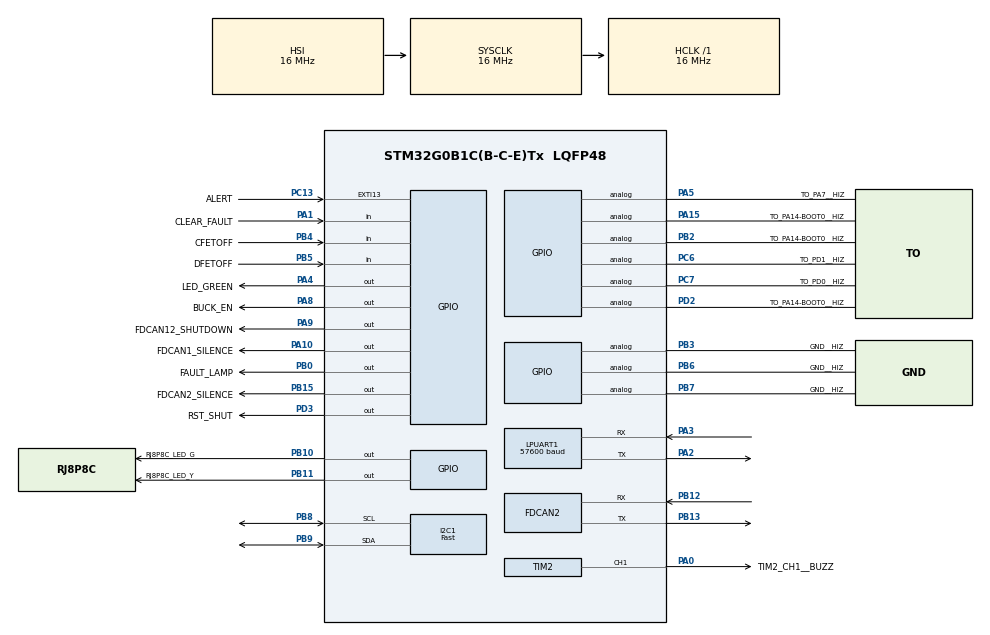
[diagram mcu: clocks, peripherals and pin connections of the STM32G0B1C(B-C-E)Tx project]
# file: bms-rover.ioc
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Dma.LPUART1_TX.0.Direction=DMA_MEMORY_TO_PERIPH
Dma.LPUART1_TX.0.EventEnable=DISABLE
Dma.LPUART1_TX.0.Instance=DMA1_Channel1
Dma.LPUART1_TX.0.MemDataAlignment=DMA_MDATAALIGN_BYTE
Dma.LPUART1_TX.0.MemInc=DMA_MINC_ENABLE
Dma.LPUART1_TX.0.Mode=DMA_NORMAL
Dma.LPUART1_TX.0.PeriphDataAlignment=DMA_PDATAALIGN_BYTE
Dma.LPUART1_TX.0.PeriphInc=DMA_PINC_DISABLE
Dma.LPUART1_TX.0.Polarity=HAL_DMAMUX_REQ_GEN_RISING
Dma.LPUART1_TX.0.Priority=DMA_PRIORITY_LOW
Dma.LPUART1_TX.0.RequestNumber=1
Dma.LPUART1_TX.0.SignalID=NONE
Dma.LPUART1_TX.0.SyncEnable=DISABLE
Dma.LPUART1_TX.0.SyncPolarity=HAL_DMAMUX_SYNC_NO_EVENT
Dma.LPUART1_TX.0.SyncRequestNumber=1
Dma.LPUART1_TX.0.SyncSignalID=NONE
Dma.Request0=LPUART1_TX
FDCAN2.AutoRetransmission=ENABLE
FDCAN2.CalculateBaudRateNominal=250000
FDCAN2.CalculateTimeBitNominal=4000
FDCAN2.CalculateTimeQuantumNominal=1000.0
FDCAN2.DataSyncJumpWidth=4
FDCAN2.DataTimeSeg1=5
FDCAN2.DataTimeSeg2=4
FDCAN2.FrameFormat=FDCAN_FRAME_CLASSIC
FDCAN2.Mode=FDCAN_MODE_NORMAL
FDCAN2.NominalPrescaler=32
FDCAN2.NominalSyncJumpWidth=16
FDCAN2.NominalTimeSeg1=2
FDCAN2.NominalTimeSeg2=1
FDCAN2.StdFiltersNbr=1
FDCAN2.TransmitPause=ENABLE
FDCAN2.TxFifoQueueMode=FDCAN_TX_FIFO_OPERATION
I2C1.I2C_Speed_Mode=I2C_Fast
I2C1.Timing=0x00300617
LPUART1.BaudRate=57600
LPUART1.Mode=UART_MODE_TX_RX
LPUART1.WordLength=UART_WORDLENGTH_8B
Mcu.Family=STM32G0
Mcu.Name=STM32G0B1C(B-C-E)Tx
Mcu.Package=LQFP48
Mcu.UserConstants=HCLK_Hz,(HCLK_MHz * 1000000);CAN_TIMEOUT_PSC_DIV,(HCLK_kHz - 1);BUZZ_PWM_PSC_DIV,(HCLK_MHz - 1);BUZZ_TONE_PSC_DIV,(HCLK_kHz - 1);HCLK_MHz,16;ALARM_WATCHDOG_PSC_DIV,(HCLK_kHz - 1);SLEEP_MODE_UPDATE_TIME_s,4 * (5) + 1;ALARM_CALLBACK_WATCHDOG_ms,((SLEEP_MODE_UPDATE_TIME_s + 1) * 1000);CAN_TIMEOUT_ms,50;HCLK_kHz,(HCLK_MHz * 1000);BQ769X2_DELAY_us_PSC_DIV,(HCLK_MHz - 1)
NVIC.DMA1_Channel1_IRQn=true\:1\:0\:true\:false\:true\:false\:true\:true
NVIC.EXTI4_15_IRQn=true\:1\:0\:true\:false\:true\:true\:true\:true
NVIC.TIM16_FDCAN_IT0_IRQn=true\:1\:0\:true\:false\:true\:true\:true\:true
NVIC.TIM6_DAC_LPTIM1_IRQn=true\:1\:0\:true\:false\:true\:true\:true\:true
NVIC.TIM7_LPTIM2_IRQn=true\:0\:0\:true\:false\:true\:true\:true\:true
NVIC.USART3_4_5_6_LPUART1_IRQn=true\:1\:0\:true\:false\:true\:true\:true\:true
PA0.GPIO_Label=TIM2_CH1__BUZZ
PA0.Signal=S_TIM2_CH1_ETR
PA1.GPIO_Label=CLEAR_FAULT
PA1.Signal=GPIO_Input
PA10.GPIO_Label=FDCAN1_SILENCE
PA10.GPIO_ModeDefaultOutputPP=GPIO_MODE_OUTPUT_PP
PA10.GPIO_PuPd=GPIO_NOPULL
PA10.GPIO_Speed=GPIO_SPEED_FREQ_LOW
PA10.Signal=GPIO_Output
PA13.Mode=Serial_Wire
PA13.Signal=SYS_SWDIO
PA14-BOOT0.Mode=Serial_Wire
PA14-BOOT0.Signal=SYS_SWCLK
PA15.GPIO_Label=TO_PA14-BOOT0__HIZ
PA15.Signal=GPIO_Analog
PA2.Mode=Asynchronous
PA2.Signal=LPUART1_TX
PA3.Mode=Asynchronous
PA3.Signal=LPUART1_RX
PA4.GPIO_Label=LED_GREEN
PA4.Signal=GPIO_Output
PA5.GPIO_Label=TO_PA7__HIZ
PA5.Signal=GPIO_Analog
PA8.GPIO_Label=BUCK_EN
PA8.Signal=GPIO_Output
PA9.GPIO_Label=FDCAN12_SHUTDOWN
PA9.GPIO_ModeDefaultOutputPP=GPIO_MODE_OUTPUT_PP
PA9.GPIO_PuPd=GPIO_NOPULL
PA9.GPIO_Speed=GPIO_SPEED_FREQ_LOW
PA9.Signal=GPIO_Output
PB0.GPIO_Label=FAULT_LAMP
PB0.Signal=GPIO_Output
PB10.GPIO_Label=RJ8P8C_LED_G
PB10.Signal=GPIO_Output
PB11.GPIO_Label=RJ8P8C_LED_Y
PB11.Signal=GPIO_Output
PB12.GPIO_PuPd=GPIO_PULLUP
PB12.Mode=FDCAN_Activate
PB12.Signal=FDCAN2_RX
PB13.Mode=FDCAN_Activate
PB13.Signal=FDCAN2_TX
PB15.GPIO_Label=FDCAN2_SILENCE
PB15.GPIO_ModeDefaultOutputPP=GPIO_MODE_OUTPUT_PP
PB15.GPIO_PuPd=GPIO_NOPULL
PB15.GPIO_Speed=GPIO_SPEED_FREQ_LOW
PB15.Signal=GPIO_Output
PB2.GPIO_Label=TO_PA14-BOOT0__HIZ
PB2.Signal=GPIO_Analog
PB3.GPIO_Label=GND__HIZ
PB3.Signal=GPIO_Analog
PB4.GPIO_Label=CFETOFF
PB4.Signal=GPIO_Input
PB5.GPIO_Label=DFETOFF
PB5.Signal=GPIO_Input
PB6.GPIO_Label=GND__HIZ
PB6.Signal=GPIO_Analog
PB7.GPIO_Label=GND__HIZ
PB7.Signal=GPIO_Analog
PB8.Mode=I2C
PB8.Signal=I2C1_SCL
PB9.Mode=I2C
PB9.Signal=I2C1_SDA
PC13.GPIO_Label=ALERT
PC13.GPIO_PuPd=GPIO_PULLUP
PC13.Signal=GPXTI13
PC6.GPIO_Label=TO_PD1__HIZ
PC6.Signal=GPIO_Analog
PC7.GPIO_Label=TO_PD0__HIZ
PC7.Signal=GPIO_Analog
PD2.GPIO_Label=TO_PA14-BOOT0__HIZ
PD2.Signal=GPIO_Analog
PD3.GPIO_Label=RST_SHUT
PD3.Signal=GPIO_Output
ProjectManager.HeapSize=0x200
ProjectManager.StackSize=0x400
ProjectManager.TargetToolchain=CMake
RCC.ADCFreq_Value=16000000
RCC.AHBFreq_Value=16000000
RCC.CortexFreq_Value=16000000
RCC.EXTERNAL_CLOCK_VALUE=48000
RCC.FDCANCLockSelection=RCC_FDCANCLKSOURCE_PLL
RCC.HCLKFreq_Value=16000000
RCC.HSE_VALUE=8000000
RCC.HSI48_VALUE=48000000
RCC.HSI_VALUE=16000000
RCC.LSE_VALUE=32768
RCC.PLLQ=RCC_PLLQ_DIV4
RCC.SYSCLKFreq_VALUE=16000000
RCC.USBFreq_Value=48000000
RCC.VCOOutputFreq_Value=128000000
SH.S_TIM2_CH1_ETR.0=TIM2_CH1,PWM Generation1 CH1
TIM15.AutoReloadPreload=TIM_AUTORELOAD_PRELOAD_ENABLE
TIM15.Prescaler=BQ769X2_DELAY_us_PSC_DIV
TIM16.AutoReloadPreload=TIM_AUTORELOAD_PRELOAD_DISABLE
TIM16.Period=CAN_TIMEOUT_ms
TIM16.Prescaler=CAN_TIMEOUT_PSC_DIV
TIM2.AutoReloadPreload=TIM_AUTORELOAD_PRELOAD_ENABLE
TIM2.Channel-PWM\ Generation1\ CH1=TIM_CHANNEL_1
TIM2.Period=1000000/(HCLK_kHz/10)-1
TIM2.Prescaler=BUZZ_PWM_PSC_DIV
TIM2.Pulse-PWM\ Generation1\ CH1=1000000/800/2
TIM6.AutoReloadPreload=TIM_AUTORELOAD_PRELOAD_ENABLE
TIM6.Period=ALARM_CALLBACK_WATCHDOG_ms
TIM6.Prescaler=ALARM_WATCHDOG_PSC_DIV
TIM7.AutoReloadPreload=TIM_AUTORELOAD_PRELOAD_ENABLE
TIM7.Period=65535
TIM7.Prescaler=BUZZ_TONE_PSC_DIV
TIM7.TIM_MasterOutputTrigger=TIM_TRGO_RESET
VP_SYS_VS_DBSignals.Mode=DisableDeadBatterySignals
VP_TIM15_VS_ClockSourceINT.Mode=Internal
VP_TIM16_VS_ClockSourceINT.Mode=Enable_Timer
VP_TIM2_VS_ClockSourceINT.Mode=Internal
VP_TIM6_VS_ClockSourceINT.Mode=Enable_Timer
VP_TIM7_VS_ClockSourceINT.Mode=Enable_Timer
board=custom

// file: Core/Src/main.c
/* USER CODE BEGIN Header */
/**
******************************************************************************
* @file           : main.c
* @brief          : Main program body
******************************************************************************
* @attention
*
* Copyright (c) 2025 STMicroelectronics.
* All rights reserved.
*
* This software is licensed under terms that can be found in the LICENSE file
* in the root directory of this software component.
* If no LICENSE file comes with this software, it is provided AS-IS.
*
******************************************************************************
*/

/*
TODO:TODO:TODO:TODO:TODO:
* Check if USART3_4_5_6_LPUART1_IRQHandler is strictly needed for DMA LPUART1 operation.
*/

/* USER CODE END Header */
#include "main.h"

/* USER CODE BEGIN Includes */
#include <assert.h>
#include <stddef.h>
#include <stdint.h>
#include <stdio.h>
#include <string.h>
/* USER CODE END Includes */

/* USER CODE BEGIN PD */
// #define UART_DBG
lwrb_t usart_tx_rb;
char uart_txt_buf[512];
uint8_t usart_tx_rb_data[1024];
volatile size_t usart_tx_dma_current_len;

struct can_buffer_slot
{
    uint16_t message_priority;
    uint8_t size;
    uint8_t data[8];
};

lwrb_t can_tx_rb;
char can_tx_rb_data[sizeof(struct can_buffer_slot) * 32];
volatile size_t can_tx_rb_current_len;
uint8_t sleep_guard = 1;
/* USER CODE END PD */

/* USER CODE BEGIN PM */

/*
bit 10 9 8 7 6 5 4 3 2 1 0
     m m r r D D D D D D D

m = message type -> 00: critical errors | 01: command | 10: fast telemetry | 11: slow telemetry
r = reserved(11) -> for finer prio control if we need it
D = node ID -> lower id = higher priority (0x7F - 0x00)
*/

#define CAN_RX

#define CAN_MSG_PRI_ERR (0b00 << 9)
#define CAN_MSG_PRI_CMD (0b01 << 9)
#define CAN_MSG_PRI_TLM_FAST (0b10 << 9)
#define CAN_MSG_PRI_TLM_SLOW (0b11 << 9)

#define CAN_RES1 (0b11 << 7)

#define CAN_BATTERY_SUBGROUP (0b1101 << 3)

// TODO: UNIQUE BOARD SUFFIX ID?
const uint16_t CAN_ID_BASE = CAN_RES1 | CAN_BATTERY_SUBGROUP | 0b000;
/* USER CODE END PM */

FDCAN_HandleTypeDef hfdcan2;

I2C_HandleTypeDef hi2c1;

UART_HandleTypeDef hlpuart1;
DMA_HandleTypeDef hdma_lpuart1_tx;

TIM_HandleTypeDef htim2;
TIM_HandleTypeDef htim6;
TIM_HandleTypeDef htim7;
TIM_HandleTypeDef htim15;
TIM_HandleTypeDef htim16;

/* USER CODE BEGIN PV */
// TIM_HandleTypeDef htim2; // PWM TIMER
TIM_HandleTypeDef *htim_interrupt_watchdog = &htim6;
// TIM_HandleTypeDef htim7; // TONE SWITCHING TIMER
// TIM_HandleTypeDef htim15; // BQ769X2 us TIMER
TIM_HandleTypeDef *htim_can_disconnect = &htim16;

uint8_t bq769x2_pf = 0,
        bq769x2_initialized = 0;
uint32_t cb_telemetry_timer_ms = 0;
const uint32_t RESEND_INTERVAL = 10000;
/* USER CODE END PV */

void SystemClock_Config(void);
static void MX_GPIO_Init(void);
static void MX_DMA_Init(void);
static void MX_FDCAN2_Init(void);
static void MX_I2C1_Init(void);
static void MX_LPUART1_UART_Init(void);
static void MX_TIM2_Init(void);
static void MX_TIM7_Init(void);
static void MX_TIM15_Init(void);
static void MX_TIM6_Init(void);
static void MX_TIM16_Init(void);
/* USER CODE BEGIN PFP */
static void FDCAN2_classic_config(void);
void usart_send_string(const char *str);
/* USER CODE END PFP */

/* USER CODE BEGIN 0 */

uint8_t can2_move_to_fifo()
{
    uint32_t primask;
    uint8_t started = 0;
    struct can_buffer_slot slot;

    primask = __get_PRIMASK();
    __disable_irq();
    if (HAL_FDCAN_GetTxFifoFreeLevel(&hfdcan2) > 0 && lwrb_read(&can_tx_rb, &slot, sizeof(slot)) > 0)
    {
        HAL_TIM_Base_Start_IT(htim_can_disconnect);
        __HAL_TIM_SET_COUNTER(htim_can_disconnect, 0);

        HAL_GPIO_WritePin(FDCAN12_SHUTDOWN_GPIO_Port, FDCAN12_SHUTDOWN_Pin, GPIO_PIN_RESET);
        HAL_GPIO_WritePin(FDCAN2_SILENCE_GPIO_Port, FDCAN2_SILENCE_Pin, GPIO_PIN_RESET);

        HAL_GPIO_WritePin(RJ8P8C_LED_Y_GPIO_Port, RJ8P8C_LED_Y_Pin, GPIO_PIN_SET);
        HAL_GPIO_WritePin(RJ8P8C_LED_G_GPIO_Port, RJ8P8C_LED_G_Pin, GPIO_PIN_SET);

        FDCAN_TxHeaderTypeDef can_classic_tx_header = {
            .IdType = FDCAN_STANDARD_ID,
            .TxFrameType = FDCAN_DATA_FRAME,
            .ErrorStateIndicator = FDCAN_ESI_ACTIVE,
            .BitRateSwitch = FDCAN_BRS_OFF,
            .FDFormat = FDCAN_CLASSIC_CAN,
            .TxEventFifoControl = FDCAN_STORE_TX_EVENTS,
            .MessageMarker = 0,
            .DataLength = slot.size,
            .Identifier = CAN_ID_BASE | slot.message_priority,
        };

        uint8_t delay = 0;
        while (HAL_FDCAN_AddMessageToTxFifoQ(&hfdcan2, &can_classic_tx_header, slot.data) != HAL_OK)
        {
            bq769x2_delay_us(250);
            delay++;
        }
        if (delay > 0)
        {
#ifdef UART_DBG
            char buf[32];
            snprintf(buf, sizeof(buf), "CAN_OVERFLOW %d\r\n", delay);
            usart_send_string(buf);
#endif
        }
        usart_send_string("CAN_OK\r\n");
        started = 1;
        __HAL_TIM_SET_COUNTER(htim_can_disconnect, 0);
    }
    __set_PRIMASK(primask);
    return started;
}

void can2_transmit(void *data, uint32_t length, uint16_t id_priority)
{
    static struct can_buffer_slot slot_null;
    struct can_buffer_slot slot = {
        .size = length,
        .message_priority = id_priority,
        .data = {}};
    uint8_t fail = 9;

    memcpy(slot.data, data, length);

    /* Write data to transmit buffer */
    while (fail-- && lwrb_write(&can_tx_rb, &slot, sizeof(struct can_buffer_slot)) != sizeof(struct can_buffer_slot))
    {
        char err_str[] = "can buffer overrun 0\r\n";
        err_str[sizeof(err_str) - 4] = '0' + fail;
        usart_send_string(err_str);
        lwrb_read(&can_tx_rb, &slot_null, sizeof(slot_null));
    }
    can2_move_to_fifo();
}

void tx_ssbc(uint16_t priority)
{
    struct safety_status_BC ssbc = CREATE(
        safety_status_BC,
        .safety_status_B = DIRCMD_READ_SafetyStatusB_Raw(),
        .safety_status_C = DIRCMD_READ_SafetyStatusC_Raw());
    can2_transmit(&ssbc, sizeof(ssbc), priority);

#ifdef UART_DBG
    snprintf(uart_txt_buf, sizeof(uart_txt_buf), SSBC_UART_FMT);
    usart_send_string(uart_txt_buf);
#endif
}

static void tx_snapshot(int16_t snapshot[16], enum event_type snapshot_type)
{
    struct cv_group cv_groups[6];
    FILL_CELL_VOLTAGES(cv_groups, snapshot_type,
                       snapshot[0],
                       snapshot[1],
                       snapshot[2],
                       snapshot[3],
                       snapshot[4],
                       snapshot[5],
                       snapshot[6],
                       snapshot[7],
                       snapshot[8],
                       snapshot[9],
                       snapshot[10],
                       snapshot[11],
                       snapshot[12],
                       snapshot[13],
                       snapshot[14],
                       snapshot[15], 0);
    for (uint8_t i = 0; i < 6; i++)
        can2_transmit(&cv_groups[i], sizeof(cv_groups[i]), CAN_MSG_PRI_ERR);
}

void tx_ssa(uint16_t priority)
{
    static int16_t snapshot[16];
    struct safety_status_A ssa = CREATE(
        safety_status_A,
        .safety_status_A = DIRCMD_READ_SafetyStatusA_Raw());
    can2_transmit(&ssa, sizeof(ssa), priority);

#ifdef UART_DBG
    snprintf(uart_txt_buf, sizeof(uart_txt_buf), SSA_UART_FMT);
    usart_send_string(uart_txt_buf);
#endif

    if (BIT_SafetyStatusA_COV(ssa.safety_status_A) && priority == CAN_MSG_PRI_ERR)
    {
        memset(snapshot, 0x00, sizeof(snapshot));
        bq769x2_h_get_cov_snapshot(snapshot, sizeof(snapshot));
        tx_snapshot(snapshot, COV_SNAPSHOT_E);
    }

    if (BIT_SafetyStatusA_CUV(ssa.safety_status_A) && priority == CAN_MSG_PRI_ERR)
    {
        memset(snapshot, 0x00, sizeof(snapshot));
        bq769x2_h_get_cuv_snapshot(snapshot, sizeof(snapshot));
        tx_snapshot(snapshot, CUV_SNAPSHOT_E);
    }
}

void tx_pf(uint16_t priority)
{
    struct pf_status pf_status = CREATE(pf_status,
                                        .pf_status_A = DIRCMD_READ_PFStatusA_Raw(),
                                        .pf_status_B = DIRCMD_READ_PFStatusB_Raw(),
                                        .pf_status_C = DIRCMD_READ_PFStatusC_Raw(),
                                        .pf_status_D = DIRCMD_READ_PFStatusD_Raw());
    can2_transmit(&pf_status, sizeof(pf_status), priority);
}

void tx_pfalert(uint16_t priority)
{
    struct pf_alert pf_alert = CREATE(pf_alert,
                                      .pf_alert_A = DIRCMD_READ_PFAlertA_Raw(),
                                      .pf_alert_B = DIRCMD_READ_PFAlertB_Raw(),
                                      .pf_alert_C = DIRCMD_READ_PFAlertC_Raw(),
                                      .pf_alert_D = DIRCMD_READ_PFAlertD_Raw());
    can2_transmit(&pf_alert, sizeof(pf_alert), priority);
}

void tx_safety_alert(uint16_t priority)
{
    struct safety_alert sf_alert = CREATE(safety_alert,
                                          .safety_alert_A = DIRCMD_READ_SafetyAlertA_Raw(),
                                          .safety_alert_B = DIRCMD_READ_SafetyAlertB_Raw(),
                                          .safety_alert_C = DIRCMD_READ_SafetyAlertC_Raw());
    can2_transmit(&sf_alert, sizeof(sf_alert), priority);
}

void tx_fullscan()
{
    // Check if FULLSCAN is complete. If set, new measurements are available
    // cell voltages
    // current
    // temperature sensors

    struct cv_group cv_groups[6];

    FILL_CELL_VOLTAGES(cv_groups, FULLSCAN_E,
                       DIRCMD_READ_Cell1Voltage_mV(),
                       DIRCMD_READ_Cell2Voltage_mV(),
                       DIRCMD_READ_Cell3Voltage_mV(),
                       DIRCMD_READ_Cell4Voltage_mV(),
                       DIRCMD_READ_Cell5Voltage_mV(),
                       DIRCMD_READ_Cell6Voltage_mV(),
                       DIRCMD_READ_Cell7Voltage_mV(),
                       DIRCMD_READ_Cell8Voltage_mV(),
                       DIRCMD_READ_Cell9Voltage_mV(),
                       DIRCMD_READ_Cell10Voltage_mV(),
                       DIRCMD_READ_Cell11Voltage_mV(),
                       DIRCMD_READ_Cell12Voltage_mV(),
                       DIRCMD_READ_Cell13Voltage_mV(),
                       DIRCMD_READ_Cell14Voltage_mV(),
                       DIRCMD_READ_Cell15Voltage_mV(),
                       DIRCMD_READ_Cell16Voltage_mV(),
                       DIRCMD_READ_CC2Current_userA());

    struct temperature temperature =
        CREATE(temperature,
               .ts1_0K1 = DIRCMD_READ_TS1Temperature_0K1(),
               .ts3_0K1 = DIRCMD_READ_TS3Temperature_0K1(),
               .tint_0K1 = DIRCMD_READ_IntTemperature_0K1());

    struct pack_voltage pack_voltage =
        CREATE(pack_voltage,
               .stack_voltage_userV = DIRCMD_READ_StackVoltage_userV(),
               .ld_pin_voltage_userV = DIRCMD_READ_LDPinVoltage_userV(),
               .pack_pin_voltage_userV = DIRCMD_READ_PACKPinVoltage_userV());

#ifdef UART_DBG
    usart_send_string("--- FULLSCAN EVENT ---\r\n");
    for (uint8_t i = 0; i < 5; i++)
    {
        for (uint8_t j = 0; j < 3; j++)
        {
            snprintf(uart_txt_buf, sizeof(uart_txt_buf), ">c_%d_mV:%dmV\r\n", j, cv_groups[i].cv[j]);
            usart_send_string(uart_txt_buf);
        }
    }
    snprintf(uart_txt_buf, sizeof(uart_txt_buf), FULLSCAN_FMT);
    usart_send_string(uart_txt_buf);
#endif

    for (uint8_t i = 0; i < 6; i++)
        can2_transmit(&cv_groups[i], sizeof(cv_groups[i]), CAN_MSG_PRI_TLM_SLOW);

    can2_transmit(&temperature, sizeof(temperature), CAN_MSG_PRI_TLM_SLOW);
    can2_transmit(&pack_voltage, sizeof(pack_voltage), CAN_MSG_PRI_TLM_SLOW);
}

void tx_pack_status(uint16_t priority)
{
    can2_transmit(CREATE_PTR_L(pack_status,
                               .battery_status = DIRCMD_READ_BatteryStatus_Raw(),
                               .control_status = DIRCMD_READ_ControlStatus_Raw(),
                               .fet_status = DIRCMD_READ_FETStatus_Raw()),
                  priority);
}

void tx_cb_status(uint16_t priority)
{
    uint32_t cell_balancing_time[16];
    memset(cell_balancing_time, 0x00, sizeof(cell_balancing_time));
    bq769x2_h_cb_get_cell_balancing_time(cell_balancing_time, sizeof(cell_balancing_time));
    for (uint8_t i = 0; i < 16; i++)
    {
        struct cb_time _cb_time_s = CREATE(
            cb_time,
            .offset = i,
            .cb_time_s = cell_balancing_time[i]);

        can2_transmit(&_cb_time_s, sizeof(_cb_time_s), priority);
    }

    struct cb_status _cb_status = CREATE(
        cb_status,
        .cb_active_cells = bq769x2_h_cb_get_active_cells(),
        .cb_present_time_s = bq769x2_h_cb_get_pack_balancing_time());

    can2_transmit(&_cb_status, sizeof(_cb_status), priority);
}

void tx_event(uint16_t events)
{
    events &= ~(AlarmStatus_FULLSCAN_CLEAR | AlarmStatus_ADSCAN_CLEAR);

    if (events)
        can2_transmit(CREATE_PTR_L(alarm_event,
                                   .alarm_excl_ADSCAN_FULLSCAN = events),
                      CAN_MSG_PRI_ERR);
}

void reset_fault_alarm(const uint16_t alarm_mask)
{
    // ALARM AND FAULT LAMP
    if (BIT_AlarmStatus_PF(alarm_mask))
    {
        sfx_twotone(65535, 100, 250);
        mask_fault_lamp(FL_REPEAT);
    }
    else if (BIT_AlarmStatus_SSBC(alarm_mask) || BIT_AlarmStatus_SSA(alarm_mask) /* || BIT_AlarmStatus_XCHG(alarm_mask) || BIT_AlarmStatus_XDSG(alarm_mask)*/)
    {
        sfx_twotone(20, 250, 100);
        mask_fault_lamp(FL_REPEAT);
    }
    else if (BIT_AlarmStatus_MSK_PFALERT(alarm_mask) || BIT_AlarmStatus_MSK_SFALERT(alarm_mask))
    {
        sfx_fourtone(50);
        mask_fault_lamp(FL_ONESHOT);
    }
    else
    {
        mask_fault_lamp(FL_DISABLED);
    }
}

void refresh_faults(uint16_t mask);

uint16_t alarm_latched = 0,
         alarm_raw_now = 0,
         alarm_raw_last = 0;

void alarm_cb()
{
    if (!bq769x2_initialized)
        return;

    // FORCE SEND FULL STATUS EVERY X INTERRUPTS;
    const uint16_t repeat_msg_divisor = 16;

    // TIM6 -> ALERT INTERRUPT WATCHDOG
    __HAL_TIM_SET_COUNTER(htim_interrupt_watchdog, 0);
    static uint16_t alarm_trig = 0,
                    repeat_msg_cnt = 0;

    uint16_t can_priority = CAN_MSG_PRI_ERR;
    uint8_t retransmit = 0;

    if (repeat_msg_cnt++ == repeat_msg_divisor)
    {
        repeat_msg_cnt = 0;
        alarm_trig = 0xFFFF;
        retransmit = 1;
        can_priority = CAN_MSG_PRI_TLM_SLOW;

        // EXCEPTION - ONLY PERIODICALLY TRANSMIT CB IF CB IS ACTIVE.
        // alarm_trig = (alarm_trig ^ BIT_AlarmRawStatus_CB(alarm_trig)) | BIT_AlarmRawStatus_CB(alarm_raw_now);
    }
    else
    {
        alarm_latched = DIRCMD_READ_AlarmStatus_Raw();
        alarm_raw_now = DIRCMD_READ_AlarmRawStatus_Raw();

        // RISING (LATCHED) OR FALLING EDGE
        alarm_trig = (alarm_latched) | (alarm_raw_last & (alarm_raw_last ^ alarm_raw_now));
    }

    if (BIT_AlarmStatus_FULLSCAN(alarm_trig))
    {
        tx_pack_status(CAN_MSG_PRI_TLM_SLOW);
        tx_fullscan();
        DIRCMD_WRITE_AlarmStatus_Raw(AlarmStatus_FULLSCAN_CLEAR);
    }
    if (BIT_AlarmStatus_PF(alarm_trig))
    {
        tx_pf(can_priority);
        DIRCMD_WRITE_AlarmStatus_Raw(AlarmStatus_PF_CLEAR);
        HAL_PWR_DisableSleepOnExit(); // EXIT HANDLER IS NOT INTERRUPT BASED
        bq769x2_pf = !retransmit;
    }
    if (BIT_AlarmStatus_SSBC(alarm_trig))
    {
        tx_ssbc(can_priority);
        DIRCMD_WRITE_AlarmStatus_Raw(AlarmStatus_SSBC_CLEAR);
    }
    if (BIT_AlarmStatus_SSA(alarm_trig))
    {
        tx_ssa(can_priority);
        DIRCMD_WRITE_AlarmStatus_Raw(AlarmStatus_SSA_CLEAR);
    }
    if (BIT_AlarmStatus_MSK_PFALERT(alarm_trig))
    {
        tx_pfalert(can_priority);
        DIRCMD_WRITE_AlarmStatus_Raw(AlarmStatus_MSK_PFALERT_CLEAR);
    }
    if (BIT_AlarmStatus_MSK_SFALERT(alarm_trig))
    {
        tx_safety_alert(can_priority);
        DIRCMD_WRITE_AlarmStatus_Raw(AlarmStatus_MSK_SFALERT_CLEAR);
    }
    if (BIT_AlarmStatus_XCHG(alarm_trig) || BIT_AlarmStatus_XDSG(alarm_trig))
    {
        tx_pack_status(can_priority);
        DIRCMD_WRITE_AlarmStatus_Raw(AlarmStatus_XCHG_CLEAR | AlarmStatus_XDSG_CLEAR);
    }

    // ALARM UNLATCHED
    if (BIT_AlarmRawStatus_CB(alarm_trig))
    {
        tx_cb_status(can_priority);
    }

    // EVENT
    const uint16_t event_bits = alarm_latched & ~(AlarmStatus_FULLSCAN_CLEAR | AlarmStatus_ADSCAN_CLEAR);
    if (event_bits)
    {
        reset_fault_alarm(event_bits);
        tx_event(event_bits);
        DIRCMD_WRITE_AlarmStatus_Raw(event_bits);

#ifdef UART_DBG
        snprintf(uart_txt_buf, sizeof(uart_txt_buf), ALARM_UART_FMT);
        usart_send_string(uart_txt_buf);
#endif
    }
    else
    {
        // CMD_SUBCMD_ALL_FETS_ON();
    }
    alarm_raw_last = alarm_raw_now;
}

/* USER CODE END 0 */

int main(void)
{

  /* USER CODE BEGIN 1 */
    lwrb_init(&usart_tx_rb, usart_tx_rb_data, sizeof(usart_tx_rb_data));
    lwrb_init(&can_tx_rb, can_tx_rb_data, sizeof(can_tx_rb_data));
  /* USER CODE END 1 */

  /* MCU Configuration--------------------------------------------------------*/

  /* Reset of all peripherals, Initializes the Flash interface and the Systick. */
  HAL_Init();

  /* Configure the system clock */
  SystemClock_Config();

  /* Initialize all configured peripherals */
  MX_GPIO_Init();
  MX_DMA_Init();
  MX_FDCAN2_Init();
  MX_I2C1_Init();
  MX_LPUART1_UART_Init();
  MX_TIM2_Init();
  MX_TIM7_Init();
  MX_TIM15_Init();
  MX_TIM6_Init();
  MX_TIM16_Init();
  /* USER CODE BEGIN 2 */
    FDCAN2_classic_config();
#define USERA_mA 10
#define USERV_mV 10
    HAL_GPIO_WritePin(FAULT_LAMP_GPIO_Port, FAULT_LAMP_Pin, GPIO_PIN_SET);
    HAL_GPIO_WritePin(LED_GREEN_GPIO_Port, LED_GREEN_Pin, GPIO_PIN_SET);
    HAL_TIM_Base_Start(&htim15);
    // TIM6 -> ALERT INTERRUPT WATCHDOG
    HAL_TIM_Base_Start_IT(htim_interrupt_watchdog);
    HAL_GPIO_WritePin(RST_SHUT_GPIO_Port, RST_SHUT_Pin, GPIO_PIN_RESET);
    HAL_GPIO_WritePin(DFETOFF_GPIO_Port, DFETOFF_Pin, GPIO_PIN_RESET);
    HAL_GPIO_WritePin(CFETOFF_GPIO_Port, CFETOFF_Pin, GPIO_PIN_RESET);
    bq769x2_delay_us(10000);

    // NOTE: do not call CMD_SUBCMD_RESET(); - power on boot loop
    bq769x2_init(); // Configure all of the BQ769x2 register settings
    // NOTE: do not execute CMD_SUBCMD_FET_ENABLE(); at this point - toggles FET_EN register to off.
    usart_send_string("BQ769X2 INITIALIZATION COMPLETED\r\n");
    alarm_cb();
    bq769x2_delay_us(60000);
    bq769x2_delay_us(60000);
    bq769x2_delay_us(60000);
    bq769x2_delay_us(60000); // wait to start measurements after FETs close
#ifdef UART_DBG
    HAL_UART_Init(&hlpuart1);
#endif

    alarm_cb();
    can2_transmit(CREATE_PTR_L(bms_status, .bms_status = BMS_STATUS_INIT), CAN_MSG_PRI_TLM_SLOW);
    can2_transmit(CREATE_PTR_L(bms_status, .bms_status = BMS_STATUS_INIT), CAN_MSG_PRI_TLM_SLOW);
    can2_transmit(CREATE_PTR_L(bms_status, .bms_status = BMS_STATUS_INIT), CAN_MSG_PRI_TLM_SLOW);
    HAL_GPIO_WritePin(LED_GREEN_GPIO_Port, LED_GREEN_Pin, GPIO_PIN_RESET);
    bq769x2_initialized = 1;
    alarm_cb();
    sfx_onetone(932, 180, 253);
    HAL_GPIO_WritePin(FAULT_LAMP_GPIO_Port, FAULT_LAMP_Pin, GPIO_PIN_RESET);
    bq769x2_delay_us(60000);
    HAL_PWR_EnableSleepOnExit(); // EASY SLEEP MODE - TODO: REIMPLEMENT WITH STOP MODE FOR MORE SAVING.

  /* USER CODE END 2 */

  /* Infinite loop */
    while (1)
    {

    /* USER CODE BEGIN 3 */
        if (bq769x2_pf)
        {
            // SHUTDOWN HOST MCU AND BQ.
            for (uint32_t i = 0; i < 20; i++)
            {
                HAL_Delay(500);
                can2_transmit(CREATE_PTR_L(bms_status, .bms_status = BMS_STATUS_SHUTDOWN), CAN_MSG_PRI_ERR);
            }
            CMD_SUBCMD_SHUTDOWN();
            CMD_SUBCMD_SHUTDOWN();
            __HAL_PWR_CLEAR_FLAG(PWR_FLAG_WUF);
            HAL_PWR_EnterSTANDBYMode();
            while (1)
                ;
        }
    }
  /* USER CODE END 3 */
}

void SystemClock_Config(void)
{
  RCC_OscInitTypeDef RCC_OscInitStruct = {0};
  RCC_ClkInitTypeDef RCC_ClkInitStruct = {0};

  /** Configure the main internal regulator output voltage
  */
  HAL_PWREx_ControlVoltageScaling(PWR_REGULATOR_VOLTAGE_SCALE1);

  /** Initializes the RCC Oscillators according to the specified parameters
  * in the RCC_OscInitTypeDef structure.
  */
  RCC_OscInitStruct.OscillatorType = RCC_OSCILLATORTYPE_HSI;
  RCC_OscInitStruct.HSIState = RCC_HSI_ON;
  RCC_OscInitStruct.HSIDiv = RCC_HSI_DIV1;
  RCC_OscInitStruct.HSICalibrationValue = RCC_HSICALIBRATION_DEFAULT;
  RCC_OscInitStruct.PLL.PLLState = RCC_PLL_ON;
  RCC_OscInitStruct.PLL.PLLSource = RCC_PLLSOURCE_HSI;
  RCC_OscInitStruct.PLL.PLLM = RCC_PLLM_DIV1;
  RCC_OscInitStruct.PLL.PLLN = 8;
  RCC_OscInitStruct.PLL.PLLP = RCC_PLLP_DIV2;
  RCC_OscInitStruct.PLL.PLLQ = RCC_PLLQ_DIV4;
  RCC_OscInitStruct.PLL.PLLR = RCC_PLLR_DIV2;
  if (HAL_RCC_OscConfig(&RCC_OscInitStruct) != HAL_OK)
  {
    Error_Handler();
  }

  /** Initializes the CPU, AHB and APB buses clocks
  */
  RCC_ClkInitStruct.ClockType = RCC_CLOCKTYPE_HCLK|RCC_CLOCKTYPE_SYSCLK
                              |RCC_CLOCKTYPE_PCLK1;
  RCC_ClkInitStruct.SYSCLKSource = RCC_SYSCLKSOURCE_HSI;
  RCC_ClkInitStruct.AHBCLKDivider = RCC_SYSCLK_DIV1;
  RCC_ClkInitStruct.APB1CLKDivider = RCC_HCLK_DIV1;

  if (HAL_RCC_ClockConfig(&RCC_ClkInitStruct, FLASH_LATENCY_0) != HAL_OK)
  {
    Error_Handler();
  }
}

static void MX_FDCAN2_Init(void)
{

  hfdcan2.Instance = FDCAN2;
  hfdcan2.Init.ClockDivider = FDCAN_CLOCK_DIV1;
  hfdcan2.Init.FrameFormat = FDCAN_FRAME_CLASSIC;
  hfdcan2.Init.Mode = FDCAN_MODE_NORMAL;
  hfdcan2.Init.AutoRetransmission = ENABLE;
  hfdcan2.Init.TransmitPause = ENABLE;
  hfdcan2.Init.ProtocolException = DISABLE;
  hfdcan2.Init.NominalPrescaler = 32;
  hfdcan2.Init.NominalSyncJumpWidth = 16;
  hfdcan2.Init.NominalTimeSeg1 = 2;
  hfdcan2.Init.NominalTimeSeg2 = 1;
  hfdcan2.Init.DataPrescaler = 1;
  hfdcan2.Init.DataSyncJumpWidth = 4;
  hfdcan2.Init.DataTimeSeg1 = 5;
  hfdcan2.Init.DataTimeSeg2 = 4;
  hfdcan2.Init.StdFiltersNbr = 1;
  hfdcan2.Init.ExtFiltersNbr = 0;
  hfdcan2.Init.TxFifoQueueMode = FDCAN_TX_FIFO_OPERATION;
  if (HAL_FDCAN_Init(&hfdcan2) != HAL_OK)
  {
    Error_Handler();
  }

}

static void MX_I2C1_Init(void)
{

  hi2c1.Instance = I2C1;
  hi2c1.Init.Timing = 0x00300617;
  hi2c1.Init.OwnAddress1 = 0;
  hi2c1.Init.AddressingMode = I2C_ADDRESSINGMODE_7BIT;
  hi2c1.Init.DualAddressMode = I2C_DUALADDRESS_DISABLE;
  hi2c1.Init.OwnAddress2 = 0;
  hi2c1.Init.OwnAddress2Masks = I2C_OA2_NOMASK;
  hi2c1.Init.GeneralCallMode = I2C_GENERALCALL_DISABLE;
  hi2c1.Init.NoStretchMode = I2C_NOSTRETCH_DISABLE;
  if (HAL_I2C_Init(&hi2c1) != HAL_OK)
  {
    Error_Handler();
  }

  /** Configure Analogue filter
  */
  if (HAL_I2CEx_ConfigAnalogFilter(&hi2c1, I2C_ANALOGFILTER_ENABLE) != HAL_OK)
  {
    Error_Handler();
  }

  /** Configure Digital filter
  */
  if (HAL_I2CEx_ConfigDigitalFilter(&hi2c1, 0) != HAL_OK)
  {
    Error_Handler();
  }

}

static void MX_LPUART1_UART_Init(void)
{

  /* USER CODE BEGIN LPUART1_Init 0 */
#ifdef UART_DBG
  /* USER CODE END LPUART1_Init 0 */

  hlpuart1.Instance = LPUART1;
  hlpuart1.Init.BaudRate = 57600;
  hlpuart1.Init.WordLength = UART_WORDLENGTH_8B;
  hlpuart1.Init.StopBits = UART_STOPBITS_1;
  hlpuart1.Init.Parity = UART_PARITY_NONE;
  hlpuart1.Init.Mode = UART_MODE_TX_RX;
  hlpuart1.Init.HwFlowCtl = UART_HWCONTROL_NONE;
  hlpuart1.Init.OneBitSampling = UART_ONE_BIT_SAMPLE_DISABLE;
  hlpuart1.Init.ClockPrescaler = UART_PRESCALER_DIV1;
  hlpuart1.AdvancedInit.AdvFeatureInit = UART_ADVFEATURE_NO_INIT;
  hlpuart1.FifoMode = UART_FIFOMODE_DISABLE;
  if (HAL_UART_Init(&hlpuart1) != HAL_OK)
  {
    Error_Handler();
  }
  if (HAL_UARTEx_SetTxFifoThreshold(&hlpuart1, UART_TXFIFO_THRESHOLD_1_8) != HAL_OK)
  {
    Error_Handler();
  }
  if (HAL_UARTEx_SetRxFifoThreshold(&hlpuart1, UART_RXFIFO_THRESHOLD_1_8) != HAL_OK)
  {
    Error_Handler();
  }
  if (HAL_UARTEx_DisableFifoMode(&hlpuart1) != HAL_OK)
  {
    Error_Handler();
  }
  /* USER CODE BEGIN LPUART1_Init 2 */
#endif
  /* USER CODE END LPUART1_Init 2 */

}

static void MX_TIM2_Init(void)
{

  TIM_ClockConfigTypeDef sClockSourceConfig = {0};
  TIM_MasterConfigTypeDef sMasterConfig = {0};
  TIM_OC_InitTypeDef sConfigOC = {0};

  htim2.Instance = TIM2;
  htim2.Init.Prescaler = BUZZ_PWM_PSC_DIV;
  htim2.Init.CounterMode = TIM_COUNTERMODE_UP;
  htim2.Init.Period = 1000000/(HCLK_kHz/10)-1;
  htim2.Init.ClockDivision = TIM_CLOCKDIVISION_DIV1;
  htim2.Init.AutoReloadPreload = TIM_AUTORELOAD_PRELOAD_ENABLE;
  if (HAL_TIM_Base_Init(&htim2) != HAL_OK)
  {
    Error_Handler();
  }
  sClockSourceConfig.ClockSource = TIM_CLOCKSOURCE_INTERNAL;
  if (HAL_TIM_ConfigClockSource(&htim2, &sClockSourceConfig) != HAL_OK)
  {
    Error_Handler();
  }
  if (HAL_TIM_PWM_Init(&htim2) != HAL_OK)
  {
    Error_Handler();
  }
  sMasterConfig.MasterOutputTrigger = TIM_TRGO_RESET;
  sMasterConfig.MasterSlaveMode = TIM_MASTERSLAVEMODE_DISABLE;
  if (HAL_TIMEx_MasterConfigSynchronization(&htim2, &sMasterConfig) != HAL_OK)
  {
    Error_Handler();
  }
  sConfigOC.OCMode = TIM_OCMODE_PWM1;
  sConfigOC.Pulse = 1000000/800/2;
  sConfigOC.OCPolarity = TIM_OCPOLARITY_HIGH;
  sConfigOC.OCFastMode = TIM_OCFAST_DISABLE;
  if (HAL_TIM_PWM_ConfigChannel(&htim2, &sConfigOC, TIM_CHANNEL_1) != HAL_OK)
  {
    Error_Handler();
  }
  HAL_TIM_MspPostInit(&htim2);

}

static void MX_TIM6_Init(void)
{

  TIM_MasterConfigTypeDef sMasterConfig = {0};

  htim6.Instance = TIM6;
  htim6.Init.Prescaler = ALARM_WATCHDOG_PSC_DIV;
  htim6.Init.CounterMode = TIM_COUNTERMODE_UP;
  htim6.Init.Period = ALARM_CALLBACK_WATCHDOG_ms;
  htim6.Init.AutoReloadPreload = TIM_AUTORELOAD_PRELOAD_ENABLE;
  if (HAL_TIM_Base_Init(&htim6) != HAL_OK)
  {
    Error_Handler();
  }
  sMasterConfig.MasterOutputTrigger = TIM_TRGO_RESET;
  sMasterConfig.MasterSlaveMode = TIM_MASTERSLAVEMODE_DISABLE;
  if (HAL_TIMEx_MasterConfigSynchronization(&htim6, &sMasterConfig) != HAL_OK)
  {
    Error_Handler();
  }

}

static void MX_TIM7_Init(void)
{

  TIM_MasterConfigTypeDef sMasterConfig = {0};

  htim7.Instance = TIM7;
  htim7.Init.Prescaler = BUZZ_TONE_PSC_DIV;
  htim7.Init.CounterMode = TIM_COUNTERMODE_UP;
  htim7.Init.Period = 65535;
  htim7.Init.AutoReloadPreload = TIM_AUTORELOAD_PRELOAD_ENABLE;
  if (HAL_TIM_Base_Init(&htim7) != HAL_OK)
  {
    Error_Handler();
  }
  sMasterConfig.MasterOutputTrigger = TIM_TRGO_RESET;
  sMasterConfig.MasterSlaveMode = TIM_MASTERSLAVEMODE_DISABLE;
  if (HAL_TIMEx_MasterConfigSynchronization(&htim7, &sMasterConfig) != HAL_OK)
  {
    Error_Handler();
  }

}

static void MX_TIM15_Init(void)
{

  TIM_ClockConfigTypeDef sClockSourceConfig = {0};
  TIM_MasterConfigTypeDef sMasterConfig = {0};

  htim15.Instance = TIM15;
  htim15.Init.Prescaler = BQ769X2_DELAY_us_PSC_DIV;
  htim15.Init.CounterMode = TIM_COUNTERMODE_UP;
  htim15.Init.Period = 65535;
  htim15.Init.ClockDivision = TIM_CLOCKDIVISION_DIV1;
  htim15.Init.RepetitionCounter = 0;
  htim15.Init.AutoReloadPreload = TIM_AUTORELOAD_PRELOAD_ENABLE;
  if (HAL_TIM_Base_Init(&htim15) != HAL_OK)
  {
    Error_Handler();
  }
  sClockSourceConfig.ClockSource = TIM_CLOCKSOURCE_INTERNAL;
  if (HAL_TIM_ConfigClockSource(&htim15, &sClockSourceConfig) != HAL_OK)
  {
    Error_Handler();
  }
  sMasterConfig.MasterOutputTrigger = TIM_TRGO_RESET;
  sMasterConfig.MasterSlaveMode = TIM_MASTERSLAVEMODE_DISABLE;
  if (HAL_TIMEx_MasterConfigSynchronization(&htim15, &sMasterConfig) != HAL_OK)
  {
    Error_Handler();
  }

}

static void MX_TIM16_Init(void)
{

  htim16.Instance = TIM16;
  htim16.Init.Prescaler = CAN_TIMEOUT_PSC_DIV;
  htim16.Init.CounterMode = TIM_COUNTERMODE_UP;
  htim16.Init.Period = CAN_TIMEOUT_ms;
  htim16.Init.ClockDivision = TIM_CLOCKDIVISION_DIV1;
  htim16.Init.RepetitionCounter = 0;
  htim16.Init.AutoReloadPreload = TIM_AUTORELOAD_PRELOAD_DISABLE;
  if (HAL_TIM_Base_Init(&htim16) != HAL_OK)
  {
    Error_Handler();
  }

}

static void MX_DMA_Init(void)
{

  /* DMA controller clock enable */
  __HAL_RCC_DMA1_CLK_ENABLE();

  /* DMA interrupt init */
  /* DMA1_Channel1_IRQn interrupt configuration */
  HAL_NVIC_SetPriority(DMA1_Channel1_IRQn, 1, 0);
  HAL_NVIC_EnableIRQ(DMA1_Channel1_IRQn);

}

static void MX_GPIO_Init(void)
{
  GPIO_InitTypeDef GPIO_InitStruct = {0};

  /* GPIO Ports Clock Enable */
  __HAL_RCC_GPIOC_CLK_ENABLE();
  __HAL_RCC_GPIOF_CLK_ENABLE();
  __HAL_RCC_GPIOA_CLK_ENABLE();
  __HAL_RCC_GPIOB_CLK_ENABLE();
  __HAL_RCC_GPIOD_CLK_ENABLE();

  /*Configure GPIO pin Output Level */
  HAL_GPIO_WritePin(GPIOA, LED_GREEN_Pin|BUCK_EN_Pin|FDCAN12_SHUTDOWN_Pin|FDCAN1_SILENCE_Pin, GPIO_PIN_RESET);

  /*Configure GPIO pin Output Level */
  HAL_GPIO_WritePin(GPIOB, FAULT_LAMP_Pin|RJ8P8C_LED_G_Pin|RJ8P8C_LED_Y_Pin|FDCAN2_SILENCE_Pin, GPIO_PIN_RESET);

  /*Configure GPIO pin Output Level */
  HAL_GPIO_WritePin(RST_SHUT_GPIO_Port, RST_SHUT_Pin, GPIO_PIN_RESET);

  /*Configure GPIO pin : ALERT_Pin */
  GPIO_InitStruct.Pin = ALERT_Pin;
  GPIO_InitStruct.Mode = GPIO_MODE_IT_RISING;
  GPIO_InitStruct.Pull = GPIO_PULLUP;
  HAL_GPIO_Init(ALERT_GPIO_Port, &GPIO_InitStruct);

  /*Configure GPIO pins : PC14 PC15 TO_PD1__HIZ_Pin TO_PD0__HIZ_Pin */
  GPIO_InitStruct.Pin = GPIO_PIN_14|GPIO_PIN_15|TO_PD1__HIZ_Pin|TO_PD0__HIZ_Pin;
  GPIO_InitStruct.Mode = GPIO_MODE_ANALOG;
  GPIO_InitStruct.Pull = GPIO_NOPULL;
  HAL_GPIO_Init(GPIOC, &GPIO_InitStruct);

  /*Configure GPIO pins : PF0 PF1 PF2 */
  GPIO_InitStruct.Pin = GPIO_PIN_0|GPIO_PIN_1|GPIO_PIN_2;
  GPIO_InitStruct.Mode = GPIO_MODE_ANALOG;
  GPIO_InitStruct.Pull = GPIO_NOPULL;
  HAL_GPIO_Init(GPIOF, &GPIO_InitStruct);

  /*Configure GPIO pin : CLEAR_FAULT_Pin */
  GPIO_InitStruct.Pin = CLEAR_FAULT_Pin;
  GPIO_InitStruct.Mode = GPIO_MODE_INPUT;
  GPIO_InitStruct.Pull = GPIO_NOPULL;
  HAL_GPIO_Init(CLEAR_FAULT_GPIO_Port, &GPIO_InitStruct);

  /*Configure GPIO pins : LED_GREEN_Pin BUCK_EN_Pin FDCAN12_SHUTDOWN_Pin FDCAN1_SILENCE_Pin */
  GPIO_InitStruct.Pin = LED_GREEN_Pin|BUCK_EN_Pin|FDCAN12_SHUTDOWN_Pin|FDCAN1_SILENCE_Pin;
  GPIO_InitStruct.Mode = GPIO_MODE_OUTPUT_PP;
  GPIO_InitStruct.Pull = GPIO_NOPULL;
  GPIO_InitStruct.Speed = GPIO_SPEED_FREQ_LOW;
  HAL_GPIO_Init(GPIOA, &GPIO_InitStruct);

  /*Configure GPIO pins : TO_PA7__HIZ_Pin PA6 PA7 PA11
                           PA12 TO_PA14_BOOT0__HIZA15_Pin */
  GPIO_InitStruct.Pin = TO_PA7__HIZ_Pin|GPIO_PIN_6|GPIO_PIN_7|GPIO_PIN_11
                          |GPIO_PIN_12|TO_PA14_BOOT0__HIZA15_Pin;
  GPIO_InitStruct.Mode = GPIO_MODE_ANALOG;
  GPIO_InitStruct.Pull = GPIO_NOPULL;
  HAL_GPIO_Init(GPIOA, &GPIO_InitStruct);

  /*Configure GPIO pins : FAULT_LAMP_Pin RJ8P8C_LED_G_Pin RJ8P8C_LED_Y_Pin FDCAN2_SILENCE_Pin */
  GPIO_InitStruct.Pin = FAULT_LAMP_Pin|RJ8P8C_LED_G_Pin|RJ8P8C_LED_Y_Pin|FDCAN2_SILENCE_Pin;
  GPIO_InitStruct.Mode = GPIO_MODE_OUTPUT_PP;
  GPIO_InitStruct.Pull = GPIO_NOPULL;
  GPIO_InitStruct.Speed = GPIO_SPEED_FREQ_LOW;
  HAL_GPIO_Init(GPIOB, &GPIO_InitStruct);

  /*Configure GPIO pins : PB1 TO_PA14_BOOT0__HIZ_Pin PB14 GND__HIZ_Pin
                           GND__HIZB6_Pin GND__HIZB7_Pin */
  GPIO_InitStruct.Pin = GPIO_PIN_1|TO_PA14_BOOT0__HIZ_Pin|GPIO_PIN_14|GND__HIZ_Pin
                          |GND__HIZB6_Pin|GND__HIZB7_Pin;
  GPIO_InitStruct.Mode = GPIO_MODE_ANALOG;
  GPIO_InitStruct.Pull = GPIO_NOPULL;
  HAL_GPIO_Init(GPIOB, &GPIO_InitStruct);

  /*Configure GPIO pins : PD0 PD1 TO_PA14_BOOT0__HIZD2_Pin */
  GPIO_InitStruct.Pin = GPIO_PIN_0|GPIO_PIN_1|TO_PA14_BOOT0__HIZD2_Pin;
  GPIO_InitStruct.Mode = GPIO_MODE_ANALOG;
  GPIO_InitStruct.Pull = GPIO_NOPULL;
  HAL_GPIO_Init(GPIOD, &GPIO_InitStruct);

  /*Configure GPIO pin : RST_SHUT_Pin */
  GPIO_InitStruct.Pin = RST_SHUT_Pin;
  GPIO_InitStruct.Mode = GPIO_MODE_OUTPUT_PP;
  GPIO_InitStruct.Pull = GPIO_NOPULL;
  GPIO_InitStruct.Speed = GPIO_SPEED_FREQ_LOW;
  HAL_GPIO_Init(RST_SHUT_GPIO_Port, &GPIO_InitStruct);

  /*Configure GPIO pins : CFETOFF_Pin DFETOFF_Pin */
  GPIO_InitStruct.Pin = CFETOFF_Pin|DFETOFF_Pin;
  GPIO_InitStruct.Mode = GPIO_MODE_INPUT;
  GPIO_InitStruct.Pull = GPIO_NOPULL;
  HAL_GPIO_Init(GPIOB, &GPIO_InitStruct);

  /* EXTI interrupt init*/
  HAL_NVIC_SetPriority(EXTI4_15_IRQn, 1, 0);
  HAL_NVIC_EnableIRQ(EXTI4_15_IRQn);

}

/* USER CODE BEGIN 4 */
void HAL_GPIO_EXTI_Rising_Callback(uint16_t GPIO_Pin)
{
    switch (GPIO_Pin)
    {
    case ALERT_Pin:
        alarm_cb();
        break;
    }
}

void HAL_TIM_PeriodElapsedCallback(TIM_HandleTypeDef *htim)
{
    if (htim == &htim7)
        sfx_tone_cb();
    else if (htim == htim_interrupt_watchdog && bq769x2_initialized)
    {
        sfx_onetone(932, 50, 10);
        reset_fault_alarm(alarm_raw_now);
        alarm_cb();
    }
    else if (htim == htim_can_disconnect && bq769x2_initialized)
    {
        // sfx_twotone(5, 50, 10);
        reset_fault_alarm(alarm_raw_now);
        HAL_TIM_Base_Stop_IT(htim_can_disconnect);

        // empty stale
        HAL_FDCAN_AbortTxRequest(&hfdcan2, FDCAN_TX_BUFFER0 | FDCAN_TX_BUFFER1 | FDCAN_TX_BUFFER2);
        lwrb_reset(&can_tx_rb);

        // enter shutdown and standby
        HAL_GPIO_WritePin(RJ8P8C_LED_Y_GPIO_Port, RJ8P8C_LED_Y_Pin, GPIO_PIN_RESET);
        HAL_GPIO_WritePin(RJ8P8C_LED_G_GPIO_Port, RJ8P8C_LED_G_Pin, GPIO_PIN_RESET);
        HAL_GPIO_WritePin(FDCAN12_SHUTDOWN_GPIO_Port, FDCAN12_SHUTDOWN_Pin, GPIO_PIN_SET);
        HAL_GPIO_WritePin(FDCAN1_SILENCE_GPIO_Port, FDCAN1_SILENCE_Pin, GPIO_PIN_SET);
        HAL_GPIO_WritePin(FDCAN2_SILENCE_GPIO_Port, FDCAN2_SILENCE_Pin, GPIO_PIN_SET);
    }
}

FDCAN_RxHeaderTypeDef RxHeader;
uint8_t RxData[12];

void HAL_FDCAN_RxFifo0Callback(FDCAN_HandleTypeDef *hfdcan, uint32_t RxFifo0ITs)
{
    if ((RxFifo0ITs & FDCAN_IT_RX_FIFO0_NEW_MESSAGE) != RESET)
    {
        /* Retreive Rx messages from RX FIFO0 */
        if (HAL_FDCAN_GetRxMessage(hfdcan, FDCAN_RX_FIFO0, &RxHeader, RxData) != HAL_OK)
        {
            /* Reception Error */
            Error_Handler();
        }
        if (HAL_FDCAN_ActivateNotification(hfdcan, FDCAN_IT_RX_FIFO0_NEW_MESSAGE, 0) != HAL_OK)
        {
            /* Notification Error */
            Error_Handler();
        }
    }
}

void HAL_FDCAN_TxFifoEmptyCallback(FDCAN_HandleTypeDef *hfdcan)
{
    if (hfdcan == &hfdcan2)
    {
        if (can2_move_to_fifo() == 0 && lwrb_get_full(&can_tx_rb) == 0)
        {
            // EMPTY CAN TX BUF
            __HAL_TIM_SET_COUNTER(htim_can_disconnect, 0);
            HAL_TIM_Base_Stop_IT(htim_can_disconnect);

            HAL_GPIO_WritePin(RJ8P8C_LED_Y_GPIO_Port, RJ8P8C_LED_Y_Pin, GPIO_PIN_RESET);
            HAL_GPIO_WritePin(RJ8P8C_LED_G_GPIO_Port, RJ8P8C_LED_G_Pin, GPIO_PIN_RESET);
            HAL_GPIO_WritePin(FDCAN12_SHUTDOWN_GPIO_Port, FDCAN12_SHUTDOWN_Pin, GPIO_PIN_SET);
            HAL_GPIO_WritePin(FDCAN2_SILENCE_GPIO_Port, FDCAN2_SILENCE_Pin, GPIO_PIN_SET);
        }
    }
}

/**
 * @brief  Configures the FDCAN.
 * @param  None
 * @retval None
 */
static void FDCAN2_classic_config(void)
{
#ifdef CAN_RX
    FDCAN_FilterTypeDef sFilterConfig;

    /* Configure Rx filter */
    sFilterConfig.IdType = FDCAN_STANDARD_ID;
    sFilterConfig.FilterIndex = 0;
    sFilterConfig.FilterType = FDCAN_FILTER_RANGE;
    sFilterConfig.FilterConfig = FDCAN_FILTER_TO_RXFIFO0;
    sFilterConfig.FilterID1 = 0;     // TODO: REMOVE IN PROD TO PREVENT LOOPBACK
    sFilterConfig.FilterID2 = 0x7FF; // TODO:
    if (HAL_FDCAN_ConfigFilter(&hfdcan2, &sFilterConfig) != HAL_OK)
        Error_Handler();
    HAL_FDCAN_ConfigGlobalFilter(&hfdcan2,
                                 FDCAN_ACCEPT_IN_RX_FIFO0,
                                 FDCAN_ACCEPT_IN_RX_FIFO0,
                                 FDCAN_FILTER_REMOTE,
                                 FDCAN_FILTER_REMOTE);

    // NOTE: handle using IT0 only.
    // (#) There are two interrupt lines: line 0 and 1.
    // By default, all interrupts are assigned to line 0. Interrupt lines
    // can be configured using HAL_FDCAN_ConfigInterruptLines function.
    if (HAL_FDCAN_ActivateNotification(&hfdcan2, FDCAN_IT_RX_FIFO0_NEW_MESSAGE, 0) != HAL_OK)
        Error_Handler();
    if (HAL_FDCAN_ActivateNotification(&hfdcan2, FDCAN_IT_TX_COMPLETE | FDCAN_IT_TX_FIFO_EMPTY, 0) != HAL_OK)
        Error_Handler();

    /* Configure global filter:
       Filter all remote frames with STD and EXT ID
       Reject non matching frames with STD ID and EXT ID */
    // if (HAL_FDCAN_ConfigGlobalFilter(&hfdcan2, FDCAN_REJECT, FDCAN_REJECT, FDCAN_FILTER_REMOTE, FDCAN_FILTER_REMOTE) != HAL_OK)
    //     Error_Handler();
    // if (HAL_FDCAN_ActivateNotification(&hfdcan1, FDCAN_IT_RX_FIFO0_NEW_MESSAGE, 0) != HAL_OK)
    // Error_Handler();
#endif
    if (HAL_FDCAN_Start(&hfdcan2) != HAL_OK)
        Error_Handler();

    HAL_GPIO_WritePin(FDCAN1_SILENCE_GPIO_Port, FDCAN1_SILENCE_Pin, GPIO_PIN_SET);
    HAL_GPIO_WritePin(FDCAN2_SILENCE_GPIO_Port, FDCAN2_SILENCE_Pin, GPIO_PIN_SET);
    HAL_GPIO_WritePin(FDCAN12_SHUTDOWN_GPIO_Port, FDCAN12_SHUTDOWN_Pin, GPIO_PIN_SET);

    usart_send_string("CAN INITIALIZED\r\n");
}

/**
 * \brief           Check if DMA is active and if not try to send data
 * \return          `1` if transfer just started, `0` if on-going or no data to transmit
 */
uint8_t usart_start_tx_dma_transfer(void)
{
#ifdef UART_DBG
    uint32_t primask;
    uint8_t started = 0;

    /*
     * First check if transfer is currently in-active,
     * by examining the value of usart_tx_dma_current_len variable.
     *
     * This variable is set before DMA transfer is started and cleared in DMA TX complete interrupt.
     *
     * It is not necessary to disable the interrupts before checking the variable:
     *
     * When usart_tx_dma_current_len == 0
     *    - This function is called by either application or TX DMA interrupt
     *    - When called from interrupt, it was just reset before the call,
     *         indicating transfer just completed and ready for more
     *    - When called from an application, transfer was previously already in-active
     *         and immediate call from interrupt cannot happen at this moment
     *
     * When usart_tx_dma_current_len != 0
     *    - This function is called only by an application.
     *    - It will never be called from interrupt with usart_tx_dma_current_len != 0 condition
     *
     * Disabling interrupts before checking for next transfer is advised
     * only if multiple operating system threads can access to this function w/o
     * exclusive access protection (mutex) configured,
     * or if application calls this function from multiple interrupts.
     *
     * This example assumes worst use case scenario,
     * hence interrupts are disabled prior every check
     */
    primask = __get_PRIMASK();
    __disable_irq();
    if (usart_tx_dma_current_len == 0 && (usart_tx_dma_current_len = lwrb_get_linear_block_read_length(&usart_tx_rb)) > 0)
    {
        HAL_UART_Transmit_DMA(&hlpuart1, lwrb_get_linear_block_read_address(&usart_tx_rb), usart_tx_dma_current_len);
        started = 1;
    }
    __set_PRIMASK(primask);
    return started;
#else
    return 0;
#endif
}

/**
 * \brief           Send string over USART
 * \param[in]       str: String to send
 */
void usart_send_string(const char *str)
{
#ifdef UART_DBG
    lwrb_write(&usart_tx_rb, str, strlen(str)); /* Write data to transmit buffer */
    usart_start_tx_dma_transfer();
#endif
}

/**
 * @brief Tx Transfer completed callback.
 * @param huart UART handle.
 * @retval None
 */
void HAL_UART_TxCpltCallback(UART_HandleTypeDef *huart)
{

    if (huart == &hlpuart1)
    {
#ifdef UART_DBG
        lwrb_skip(&usart_tx_rb, usart_tx_dma_current_len);
        usart_tx_dma_current_len = 0;
        usart_start_tx_dma_transfer();
#endif
    }
}

/* USER CODE END 4 */

void Error_Handler(void)
{
  /* USER CODE BEGIN Error_Handler_Debug */
    __BKPT();
    /* User can add his own implementation to report the HAL error return state */
    __disable_irq();
    while (1)
    {
    }
  /* USER CODE END Error_Handler_Debug */
}
